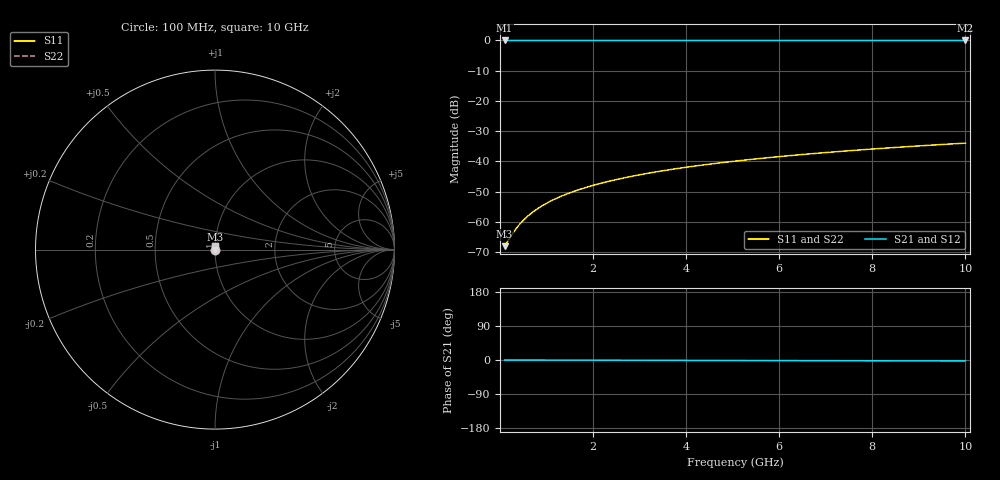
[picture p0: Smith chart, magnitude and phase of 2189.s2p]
# Hz S RI R 50.00
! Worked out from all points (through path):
!   100 points, 100 MHz to 10 GHz, reference 50 ohm
!   highest |S21| = 0.00 dB at 100 MHz (marker M1); lowest = 0.0 dB at 10 GHz (marker M2)
!   lowest |S11| = -68.1 dB at 100 MHz (marker M3), VSWR 1.00, Z = 50 + j0.0199 ohm
!   |S11| at or under -10 dB: start of sweep to end of sweep
!   |S22| runs from -68.1 to -34.0 dB; largest |S21 - S12| = 0
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1e8  0.000341 0.000199  0.9997 -0.000441  0.9997 -0.000441  0.000341 0.000199
2e8  0.000343 0.000398  0.9997 -0.000883  0.9997 -0.000883  0.000343 0.000398
3e8  0.000345 0.000596  0.9997 -0.00132  0.9997 -0.00132  0.000345 0.000596
4e8  0.000347 0.000795  0.9997 -0.00177  0.9997 -0.00177  0.000347 0.000795
5e8  0.000349 0.000994  0.9996 -0.00221  0.9996 -0.00221  0.000349 0.000994
6e8  0.000351 0.00119  0.9996 -0.00265  0.9996 -0.00265  0.000351 0.00119
7e8  0.000353 0.00139  0.9996 -0.00309  0.9996 -0.00309  0.000353 0.00139
9e8  0.000357 0.00179  0.9996 -0.00397  0.9996 -0.00397  0.000357 0.00179
1e9  0.000359 0.00199  0.9996 -0.00442  0.9996 -0.00442  0.000359 0.00199
1.2e9  0.000364 0.00239  0.9996 -0.0053  0.9996 -0.0053  0.000364 0.00239
1.5e9  0.000373 0.00298  0.9996 -0.00662  0.9996 -0.00662  0.000373 0.00298
1.8e9  0.000383 0.00358  0.9996 -0.00795  0.9996 -0.00795  0.000383 0.00358
2.1e9  0.000394 0.00418  0.9996 -0.00927  0.9996 -0.00927  0.000394 0.00418
2.5e9  0.000412 0.00497  0.9996 -0.011  0.9996 -0.011  0.000412 0.00497
2.9e9  0.000432 0.00577  0.9995 -0.0128  0.9995 -0.0128  0.000432 0.00577
3.4e9  0.000461 0.00676  0.9995 -0.015  0.9995 -0.015  0.000461 0.00676
4.2e9  0.000517 0.00835  0.9994 -0.0186  0.9994 -0.0186  0.000517 0.00835
5.1e9  0.000594 0.0101  0.9993 -0.0226  0.9993 -0.0226  0.000594 0.0101
5.9e9  0.000673 0.0117  0.9992 -0.0261  0.9992 -0.0261  0.000673 0.0117
6.7e9  0.000765 0.0133  0.9991 -0.0297  0.9991 -0.0297  0.000765 0.0133
8.4e9  0.000997 0.0167  0.9988 -0.0372  0.9988 -0.0372  0.000997 0.0167
1e10  0.00126 0.02  0.9984 -0.0444  0.9984 -0.0444  0.00126 0.02
